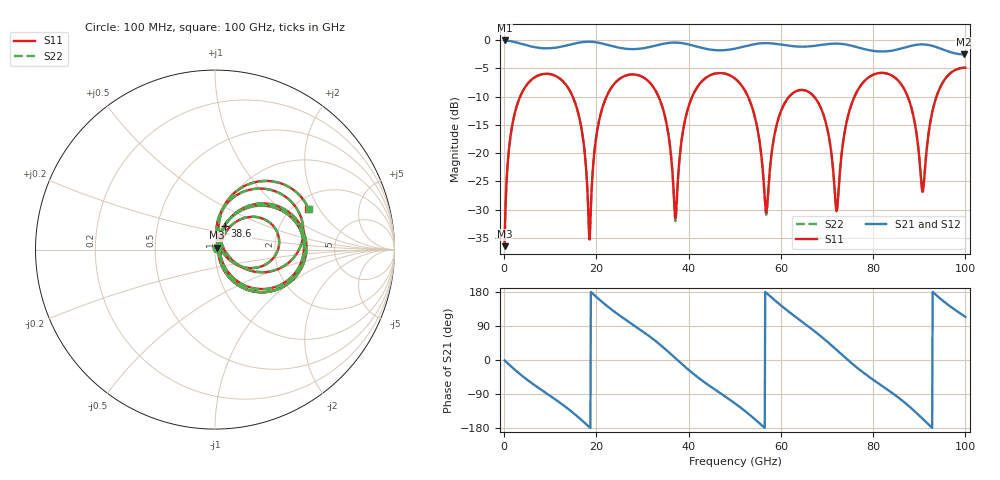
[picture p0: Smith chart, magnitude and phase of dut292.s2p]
! Touchstone file exported from HFSS 2026.1.0
!  File:  C:/ffzhzh/LocalFiles/Ansys_Project_Files/temp_train_TSV_RDL_292_1783680993_26216.aedt
!  Generated:  07:05:11 PM Jul 10, 2026
!  Design:  TSV_RDL
!  Project:  temp_train_TSV_RDL_292_1783680993_26216
! Variables:
!  h_bsmrdl = 4.65um
!  h_ox = 20um
!  h_rdl = 5um
!  h_sub = 54.29um
!  h_tmrdl = 4.69um
!  h_tsv = 54.29um
!  h_via = 3um
!  l_bsmrdl = 611.03um
!  l_sub = 3479.98um
!  l_tmrdl = 272.55um
!  m_sub = 200um
!  pitch = 54.56um
!  r_tsv = 9.59um
!  s_tmrdl = 10um
!  w_bsmrdl = 26.96um
!  w_sub = 500um
!  w_tmrdl = 25.27um
!  x_tsv_center1 = 285.185um
!  x_tsv_center2 = 923.175um
!  x_tsv_center3 = 1220.995um
!  x_tsv_center4 = 1858.985um
!  x_tsv_center5 = 2156.805um
!  x_tsv_center6 = 2794.795um
# GHz S MA R 50.000000
! Terminal data exported
! Port[1] = TM_RDL1_1_T1
! Port[2] = TM_RDL5_1_T1
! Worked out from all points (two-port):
!   1000 points, 100 MHz to 100 GHz, reference 50 ohm
!   highest |S21| = -0.09 dB at 100 MHz (marker M1); lowest = -2.6 dB at 99.7 GHz (marker M2)
!   |S21| within 3 dB of the highest: start of sweep to end of sweep
!   lowest |S11| = -36.4 dB at 100 MHz (marker M3), VSWR 1.03, Z = 51 + j1.14 ohm
!   |S11| at or under -10 dB: 14.86 GHz to 22.2 GHz (7.34 GHz wide, 39.6 % of centre); 52.87 GHz to 61.81 GHz (8.941 GHz wide, 15.6 % of centre); 67.17 GHz to 75.96 GHz (8.788 GHz wide, 12.3 % of centre) (the widest 3 of 6)
!   |S22| runs from -36.4 to -4.9 dB; largest |S21 - S12| = 4.8e-13
!   S11 on the Smith chart (normalised r, x): 100 MHz: 1.02, +0.02; 38.6 GHz: 1.08, +0.29; 100 GHz: 2.40, +1.61
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0.1  0.01506 47.7  0.99 -1.2  0.99 -1.2  0.01506 47.7
! Gamma 0 0 0 0
! Port Impedance 50 0 50 0
1.7  0.1712 66.2  0.971 -19.1  0.971 -19.1  0.1712 66.2
5.1  0.4107 34.2  0.8918 -53.1  0.8918 -53.1  0.4107 34.3
16.8  0.1619 -64.3  0.955 -158.7  0.955 -158.7  0.1619 -64.1
18.5  0.01725 -0.3  0.9644 -177.3  0.9644 -177.3  0.01805 -0.1
23  0.3653 42.9  0.8916 135.9  0.8916 135.9  0.3655 42.7
33.4  0.3208 -42.9  0.9033 44.5  0.9033 44.5  0.3208 -43.1
37.1  0.0265 -3.2  0.9488 5.2  0.9488 5.2  0.02508 -4.0
38.6  0.1415 67.5  0.9376 -11.2  0.9376 -11.2  0.1411 68.0
50.1  0.4542 -23.9  0.8388 -115.0  0.8388 -115.0  0.4541 -23.9
54.3  0.2133 -58.8  0.9179 -155.6  0.9179 -155.6  0.2132 -59.0
56.8  0.0299 -6.2  0.9376 177.5  0.9376 177.5  0.02858 -6.4
60.2  0.2452 46.3  0.9079 142.1  0.9079 142.1  0.245 46.7
66.7  0.331 -7.6  0.882 81.5  0.882 81.5  0.3309 -7.4
72.1  0.03063 26.9  0.9286 26.4  0.9286 26.4  0.03103 27.2
75.8  0.3053 71.0  0.8797 -13.2  0.8797 -13.2  0.3055 71.0
83.4  0.4988 9.7  0.7975 -80.7  0.7975 -80.7  0.499 9.9
88  0.276 -27.2  0.8823 -124.3  0.8823 -124.3  0.2764 -26.7
90.7  0.04545 20.6  0.9137 -154.8  0.9137 -154.8  0.04776 20.8
93.9  0.3302 71.6  0.8592 168.9  0.8592 168.9  0.3305 71.2
99.7  0.5678 25.7  0.7453 116.3  0.7453 116.3  0.5679 25.5
100  0.5679 23.6  0.7458 113.8  0.7458 113.8  0.568 23.5
